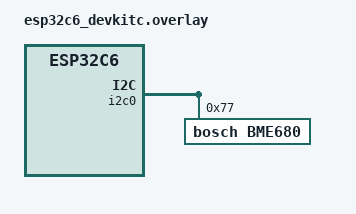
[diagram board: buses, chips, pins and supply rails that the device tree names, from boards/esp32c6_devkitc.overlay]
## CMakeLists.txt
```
# SPDX-License-Identifier: Apache-2.0

cmake_minimum_required(VERSION 3.20.0)

find_package(Zephyr REQUIRED HINTS $ENV{ZEPHYR_BASE})
project(iot-environmental-monitor)

FILE(GLOB app_sources src/*.c)
target_sources(app PRIVATE ${app_sources})
```

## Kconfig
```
# SPDX-License-Identifier: Apache-2.0

menu "IoT Environmental Monitor"

config SENSOR_READ_INTERVAL
	int "Sensor read interval (seconds)"
	default 60
	help
	  Interval in seconds between sensor readings.

config WIFI_SSID
	string "Wi-Fi SSID"
	help
	  SSID of the Wi-Fi network to connect to.

config WIFI_PSK
	string "Wi-Fi PSK"
	help
	  Pre-shared key (password) for the Wi-Fi network.

config MQTT_BROKER_ADDR
	string "MQTT broker address"
	help
	  IP address of the MQTT broker.

config MQTT_BROKER_PORT
	int "MQTT broker port"
	default 1883
	help
	  Port number of the MQTT broker.
	  Standard MQTT port is 1883, for TLS use 8883.

config MQTT_CLIENTID
	string "MQTT client ID"
	default "esp32c6-monitor"
	help
	  Client ID to use when connecting to the MQTT broker.
	  Must be unique for each client connecting to the same broker.

config MQTT_MAX_RETRY_COUNT
	int "MQTT max retry count"
	default 5
	help
	  Maximum number of retries for MQTT connection attempts.
	  Set to 0 for infinite retries.

endmenu

source "Kconfig.zephyr"
```

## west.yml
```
# Copyright (c) 2021 Nordic Semiconductor ASA
# SPDX-License-Identifier: Apache-2.0

manifest:
  remotes:
    - name: zephyrproject-rtos
      url-base: https://github.com/zephyrproject-rtos
  projects:
    - name: zephyr
      remote: zephyrproject-rtos
      revision: v4.3.0
      import:
        name-allowlist:
          - mbedtls
          - hal_espressif
  self:
    path: app
  version: "0.13"
```

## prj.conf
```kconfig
# SPDX-License-Identifier: Apache-2.0

CONFIG_LOG=y
CONFIG_NET_LOG=y

CONFIG_INIT_STACKS=y

CONFIG_I2C_RTIO=y
CONFIG_SENSOR=y
CONFIG_SENSOR_ASYNC_API=y

CONFIG_ZBUS=y
CONFIG_ZBUS_CHANNEL_NAME=y
CONFIG_ZBUS_OBSERVER_NAME=y
CONFIG_ZBUS_MSG_SUBSCRIBER=y
CONFIG_ZBUS_MSG_SUBSCRIBER_NET_BUF_POOL_SIZE=8

CONFIG_WIFI=y
CONFIG_NET_CONNECTION_MANAGER=y
CONFIG_NET_DHCPV4=y
CONFIG_NET_IPV4=y
CONFIG_NET_L2_ETHERNET=y
CONFIG_NET_L2_WIFI_MGMT=y
CONFIG_NET_DEFAULT_IF_WIFI=y
CONFIG_NET_MGMT=y
CONFIG_NET_MGMT_EVENT=y
CONFIG_NET_MGMT_EVENT_INFO=y
CONFIG_NET_MGMT_EVENT_QUEUE_SIZE=10
CONFIG_NET_MGMT_EVENT_STACK_SIZE=4096
CONFIG_NET_PKT_RX_COUNT=16
CONFIG_NET_PKT_TX_COUNT=16
CONFIG_NET_TCP=y
CONFIG_NET_UDP=y
CONFIG_NETWORKING=y

CONFIG_MQTT_LIB=y

CONFIG_WIFI_SSID="Test Network"
CONFIG_WIFI_PSK="1234567890"
CONFIG_MQTT_BROKER_ADDR="10.42.20.125"
```

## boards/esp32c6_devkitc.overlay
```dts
/*
 * SPDX-License-Identifier: Apache-2.0
 */

&i2c0 {
    status = "okay";
    bme680@77 {
        compatible = "bosch,bme680";
        reg = <0x77>;
    };
};
```

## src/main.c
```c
#include <zephyr/kernel.h>
#include <zephyr/logging/log.h>

LOG_MODULE_REGISTER(iot_environmental_monitor, CONFIG_APP_LOG_LEVEL);

int main(void)
{
    while (1) {
        k_sleep(K_SECONDS(1));
    }

    return 0;
}
```

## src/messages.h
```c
#ifndef IEM_MESSAGES_H
#define IEM_MESSAGES_H

#include <stdbool.h>
#include <zephyr/types.h>

struct net_state {
    bool is_connected;
};

struct sensor_reading {
    int64_t timestamp_ms;   /* Timestamp in milliseconds */
    int32_t temperature_mc; /* Temperature in milli-Celsius */
    uint32_t humidity;      /* Humidity in percent * 1000 (e.g., 55.5% = 55500) */
    uint32_t pressure;      /* Pressure in Pa */
};

#endif /* IEM_MESSAGES_H */
```

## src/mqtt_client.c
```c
#include <zephyr/logging/log.h>
LOG_MODULE_REGISTER(iem_mqtt_client, LOG_LEVEL_DBG);

#include <string.h>
#include <zephyr/kernel.h>
#include <zephyr/net/mqtt.h>
#include <zephyr/net/socket.h>
#include <zephyr/zbus/zbus.h>

#include "messages.h"

#define MQTT_THREAD_DELAY_MS    5000
#define MQTT_THREAD_PRIORITY    8
#define MQTT_THREAD_STACK_SIZE  4096

#define MQTT_CONNECT_FAILURE_BACKOFF_SEC 30
#define MQTT_PAYLOAD_SIZE       256
#define MQTT_POLL_TIMEOUT_MS    (CONFIG_MQTT_KEEPALIVE * MSEC_PER_SEC / 2)

#define TOPIC_TEMPERATURE       "sensors/temperature"
#define TOPIC_HUMIDITY          "sensors/humidity"
#define TOPIC_PRESSURE          "sensors/pressure"

static uint8_t rx_buffer[MQTT_PAYLOAD_SIZE];
static uint8_t tx_buffer[MQTT_PAYLOAD_SIZE];

ZBUS_MSG_SUBSCRIBER_DEFINE(mqtt_sub);

ZBUS_CHAN_DECLARE(net_state_chan);
ZBUS_CHAN_DECLARE(sensor_data_chan);

static struct mqtt_client client;
static struct sockaddr_storage broker;

static bool mqtt_connected;
static bool net_connected;

static void mqtt_event_handler(struct mqtt_client *const c, const struct mqtt_evt *evt)
{
    switch (evt->type) {
    case MQTT_EVT_CONNACK:
        if (evt->result != 0) {
            LOG_ERR("CONNACK error %d.", evt->result);
            break;
        }
        mqtt_connected = true;
        LOG_INF("MQTT connected to broker.");
        break;
    case MQTT_EVT_DISCONNECT:
        mqtt_connected = false;
        LOG_INF("MQTT disconnected.");
        break;
    case MQTT_EVT_PUBACK:
        LOG_DBG("PUBACK id=%u.", evt->param.puback.message_id);
        break;
    case MQTT_EVT_PINGRESP:
        LOG_DBG("PINGRESP received.");
        break;
    default:
        break;
    }
}

static int mqtt_connect_to_broker(void)
{
    struct zsock_pollfd fds;
    int rc = 0;
    int attempt = 0;

    struct sockaddr_in *broker4 = (struct sockaddr_in *)&broker;
    broker4->sin_family = AF_INET;
    broker4->sin_port   = htons(CONFIG_MQTT_BROKER_PORT);

    if (zsock_inet_pton(AF_INET, CONFIG_MQTT_BROKER_ADDR, &broker4->sin_addr) != 1) {
        LOG_ERR("Invalid broker IP address: %s.", CONFIG_MQTT_BROKER_ADDR);
        return -EINVAL;
    }

    while (CONFIG_MQTT_MAX_RETRY_COUNT == 0 || attempt < CONFIG_MQTT_MAX_RETRY_COUNT) {
        if (attempt > 0) {
            k_sleep(K_SECONDS(5));
        }

        mqtt_client_init(&client);
        client.broker           = &broker;
        client.evt_cb           = mqtt_event_handler;
        client.client_id.utf8   = (uint8_t *)CONFIG_MQTT_CLIENTID;
        client.client_id.size   = sizeof(CONFIG_MQTT_CLIENTID) - 1;
        client.protocol_version = MQTT_VERSION_3_1_1;
        client.rx_buf           = rx_buffer;
        client.rx_buf_size      = sizeof(rx_buffer);
        client.tx_buf           = tx_buffer;
        client.tx_buf_size      = sizeof(tx_buffer);

        rc = mqtt_connect(&client);
        if (rc != 0) {
            LOG_WRN("mqtt_connect failed: %s, attempt %d.", strerror(rc), attempt + 1);
            attempt++;
            continue;
        }

        fds.fd = client.transport.tcp.sock;
        fds.events = ZSOCK_POLLIN;

        rc = zsock_poll(&fds, 1, 5 * MSEC_PER_SEC);
        if (rc <= 0) {
            LOG_WRN("CONNACK timeout, attempt %d.", attempt + 1);
            mqtt_disconnect(&client, NULL);
            mqtt_connected = false;
            attempt++;
            continue;
        }

        rc = mqtt_input(&client);
        if (rc != 0) {
            LOG_WRN("mqtt_input failed (%d), attempt %d.",
                rc, attempt + 1);
            mqtt_disconnect(&client, NULL);
            mqtt_connected = false;
            attempt++;
            continue;
        }

        if (mqtt_connected) {
            LOG_INF("MQTT ready (attempt %d).", attempt + 1);
            return 0;
        }

        LOG_WRN("CONNACK rejected by broker, attempt %d,", attempt + 1);
        mqtt_disconnect(&client, NULL);
        attempt++;

    }

    LOG_ERR("MQTT broker unreachable after %d attempt(s)", attempt);
    return -ETIMEDOUT;
}

static void service_mqtt_connection(void)
{
    struct zsock_pollfd fds = {
        .fd     = client.transport.tcp.sock,
        .events = ZSOCK_POLLIN,
    };
    int rc = 0;

    rc = zsock_poll(&fds, 1, 0);
    if (rc < 0) {
        LOG_ERR("poll error %s, dropping MQTT connection.", strerror(errno));
        mqtt_connected = false;
        return;
    }

    if (rc > 0 && (fds.revents & ZSOCK_POLLIN)) {
        rc = mqtt_input(&client);
        if (rc != 0) {
            LOG_ERR("mqtt_input error %s, dropping connection.", strerror(rc));
            mqtt_connected = false;
            return;
        }
    }

    rc = mqtt_live(&client);
    if (rc != 0 && rc != -EAGAIN) {
        LOG_ERR("mqtt_live error %s, dropping connection.", strerror(rc));
        mqtt_connected = false;
    }
}

static int publish_to_topic(const char *topic, const char *payload)
{
    struct mqtt_publish_param param = {
        .message = {
            .topic = {
                .topic = {
                    .utf8 = (const uint8_t *)topic,
                    .size = strlen(topic),
                },
                .qos = MQTT_QOS_0_AT_MOST_ONCE,
            },
            .payload = {
                .data = (uint8_t *)payload,
                .len  = strlen(payload),
            },
        },
        .message_id  = 0,
        .dup_flag    = 0,
        .retain_flag = 0,
    };

    int rc = mqtt_publish(&client, &param);
    if (rc != 0) {
        LOG_ERR("mqtt_publish(%s) failed: %s.", topic, strerror(rc));
    } else {
        LOG_DBG("%s: %s.", topic, payload);
    }

    return rc;
}

static void publish_sensor_data(const struct sensor_reading *reading)
{
    char buf[32];

    int32_t temp_int = reading->temperature_mc / 1000;
    int32_t temp_frac = reading->temperature_mc % 1000;
    if (temp_frac < 0) {
        temp_frac = -temp_frac;
    }
    if (reading->temperature_mc < 0 && temp_int == 0) {
        snprintk(buf, sizeof(buf), "-0.%03d", temp_frac);
    } else {
        snprintk(buf, sizeof(buf), "%d.%03d", temp_int, temp_frac);
    }
    publish_to_topic(TOPIC_TEMPERATURE, buf);

    snprintk(buf, sizeof(buf), "%u.%03u",
             reading->humidity / 1000,
             reading->humidity % 1000);
    publish_to_topic(TOPIC_HUMIDITY, buf);

    snprintk(buf, sizeof(buf), "%u.%03u",
             reading->pressure / 1000,
             reading->pressure % 1000);
    publish_to_topic(TOPIC_PRESSURE, buf);
}

static void mqtt_thread(void *arg1, void *arg2, void *arg3)
{
    const struct zbus_channel *chan;
    union {
        struct net_state net;
        struct sensor_reading sensor;
    } msg;
    int rc;

    LOG_INF("MQTT client thread started.");

    while (1) {
        rc = zbus_sub_wait_msg(&mqtt_sub, &chan, &msg, K_MSEC(MQTT_POLL_TIMEOUT_MS));
        if (rc == 0) {
            if (chan == &net_state_chan) {
                net_connected = msg.net.is_connected;
                if (!net_connected && mqtt_connected) {
                    mqtt_disconnect(&client, NULL);
                    mqtt_connected = false;
                }
            } else if (chan == &sensor_data_chan) {
                if (mqtt_connected) {
                    publish_sensor_data(&msg.sensor);
                } else {
                    LOG_WRN("MQTT not ready, dropping sensor reading.");
                }
            }
        } else if (rc == -EAGAIN || rc == -ENOMSG) { 
            if (mqtt_connected) {
                service_mqtt_connection();
            }
        } else {
            LOG_ERR("zbus_sub_wait_msg error: %s.", strerror(rc));
        }

        if (net_connected && !mqtt_connected) {
            LOG_INF("Connecting to MQTT broker %s:%d...", CONFIG_MQTT_BROKER_ADDR, CONFIG_MQTT_BROKER_PORT);
            rc = mqtt_connect_to_broker();
            if (rc < 0) {
                LOG_ERR("MQTT connect failed (%s), backing off for %d seconds.",
                        strerror(rc), MQTT_CONNECT_FAILURE_BACKOFF_SEC);
                k_sleep(K_SECONDS(MQTT_CONNECT_FAILURE_BACKOFF_SEC));
            }
        }
    }
}

K_THREAD_DEFINE(mqtt_thread_id, MQTT_THREAD_STACK_SIZE, mqtt_thread,
                NULL, NULL, NULL, MQTT_THREAD_PRIORITY, 0, MQTT_THREAD_DELAY_MS);
```

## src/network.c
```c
#include <zephyr/logging/log.h>
LOG_MODULE_REGISTER(iem_network, CONFIG_LOG_DEFAULT_LEVEL);

#include <zephyr/kernel.h>
#include <zephyr/net/wifi_mgmt.h>
#include <zephyr/zbus/zbus.h>

#include "messages.h"

#define NETWORK_THREAD_DELAY_MS     5000
#define NETWORK_THREAD_PRIORITY     7
#define NETWORK_THREAD_STACK_SIZE   2048

#define WIFI_EVENT_MASK                                                        \
        (NET_EVENT_WIFI_CONNECT_RESULT | NET_EVENT_WIFI_DISCONNECT_RESULT)
#define NET_EVENT_MASK                                                         \
        (NET_EVENT_IPV4_ADDR_ADD)


ZBUS_CHAN_DEFINE(net_state_chan,
                 struct net_state,
                 NULL,
                 NULL,
                 ZBUS_OBSERVERS(mqtt_sub),
                 ZBUS_MSG_INIT(.is_connected = false));

static struct net_if *iface;
static struct wifi_connect_req_params sta_config;

static int net_state_publish(bool connected)
{
    struct net_state state = {
        .is_connected = connected
    };

    int rc = zbus_chan_pub(&net_state_chan, &state, K_NO_WAIT);
    switch (rc) {
    case -ENOMSG:
        LOG_ERR("Invalid message received for network state.");
        break;
    case -EBUSY:
        LOG_ERR("Network state channel is busy, message not published.");
        break;
    default:
        break;
    }

    return rc;
}

static int wifi_connect(void)
{
    sta_config.ssid = (const uint8_t *)CONFIG_WIFI_SSID;
    sta_config.ssid_length = sizeof(CONFIG_WIFI_SSID) - 1;
    sta_config.psk = (const uint8_t *)CONFIG_WIFI_PSK;
    sta_config.psk_length = sizeof(CONFIG_WIFI_PSK) - 1;
    sta_config.security = WIFI_SECURITY_TYPE_PSK;
    sta_config.channel = WIFI_CHANNEL_ANY;
    sta_config.band = WIFI_FREQ_BAND_2_4_GHZ;

    LOG_INF("Connecting to WiFi SSID: %s.", CONFIG_WIFI_SSID);

    int ret = net_mgmt(NET_REQUEST_WIFI_CONNECT, iface, &sta_config,
                       sizeof(struct wifi_connect_req_params));
    if (ret) {
        LOG_ERR("Failed to connect to WiFi (%s), error: %d.", CONFIG_WIFI_SSID, ret);
    }

    return ret;
}

static void net_event_handler(struct net_mgmt_event_callback *cb, uint64_t mgmt_event,
                              struct net_if *iface)
{
    switch (mgmt_event) {
    case NET_EVENT_WIFI_CONNECT_RESULT:
        const struct wifi_status *status = (const struct wifi_status *)cb->info;
        switch (status->conn_status) {
            case WIFI_STATUS_CONN_SUCCESS:
            LOG_INF("WiFi connection established.");
            break;
            case WIFI_STATUS_CONN_FAIL:
            LOG_ERR("WiFi connection failed.");
            break;
            case WIFI_STATUS_CONN_TIMEOUT:
            LOG_ERR("WiFi connection timed out.");
            break;
            case WIFI_STATUS_CONN_WRONG_PASSWORD:
            LOG_ERR("Incorrect WiFi password.");
            break;
            default:
            break;
        }
        break;
    case NET_EVENT_WIFI_DISCONNECT_RESULT:
        LOG_INF("WiFi disconnected.");
        net_state_publish(false);
        wifi_connect();
        break;
    case NET_EVENT_IPV4_ADDR_ADD:
        LOG_INF("IPv4 address added.");
        net_state_publish(true);
        break;
    default:
        LOG_INF("Unhandled network event: 0x%llx.", mgmt_event);
        break;
    }
}

static void network_thread(void *arg1, void *arg2, void *arg3)
{
    LOG_INF("Network thread started, waiting for network events...");

    iface = net_if_get_wifi_sta();
    if (!iface) {
        LOG_ERR("Network interface not initialized.");
    }

    static struct net_mgmt_event_callback wifi_cb;
    net_mgmt_init_event_callback(&wifi_cb, net_event_handler, WIFI_EVENT_MASK);
    net_mgmt_add_event_callback(&wifi_cb);
    static struct net_mgmt_event_callback net_cb;
    net_mgmt_init_event_callback(&net_cb, net_event_handler, NET_EVENT_MASK);
    net_mgmt_add_event_callback(&net_cb);

    wifi_connect();

    while (1) {
        k_sleep(K_SECONDS(1));
    }
}

    K_THREAD_DEFINE(network_thread_id, NETWORK_THREAD_STACK_SIZE, network_thread,
                    NULL, NULL, NULL, NETWORK_THREAD_PRIORITY, 0, NETWORK_THREAD_DELAY_MS);
```

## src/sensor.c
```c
#include <zephyr/device.h>
#include <zephyr/devicetree.h>
#include <zephyr/drivers/sensor.h>
#include <zephyr/drivers/sensor_data_types.h>
#include <zephyr/kernel.h>
#include <zephyr/rtio/rtio.h>
#include <zephyr/sys/timeutil.h>
#include <zephyr/zbus/zbus.h>

#include <zephyr/logging/log.h>
LOG_MODULE_REGISTER(iem_sensor, CONFIG_LOG_DEFAULT_LEVEL);

#include "messages.h"

#define BUFFER_SIZE                         128
#define DEVICE_READINESS_CHECK_INTERVAL_SEC 5

#define SENSOR_THREAD_PRIORITY      7
#define SENSOR_THREAD_STACK_SIZE    2048

static const struct device *const dev = DEVICE_DT_GET_ANY(bosch_bme680);

SENSOR_DT_READ_IODEV(iodev, DT_COMPAT_GET_ANY_STATUS_OKAY(bosch_bme680),
                     {SENSOR_CHAN_AMBIENT_TEMP, 0},
                     {SENSOR_CHAN_HUMIDITY, 0},
                     {SENSOR_CHAN_PRESS, 0});

RTIO_DEFINE(rtio_ctx, 1, 1);

ZBUS_CHAN_DEFINE(sensor_data_chan,
                 struct sensor_reading,
                 NULL,
                 NULL,
                 ZBUS_OBSERVERS(mqtt_sub),
                 ZBUS_MSG_INIT(.timestamp_ms = 0, .temperature_mc = 0,
                               .humidity = 0, .pressure = 0));

static const struct device *check_bme680_device(const struct device *dev)
{
    if (dev == NULL) {
        LOG_ERR("No device found.");
        return NULL;
    }

    if (!device_is_ready(dev)) {
        LOG_ERR("Device \"%s\" is not ready.", dev->name);
        return NULL;
    }

    LOG_INF("Found device \"%s\", getting sensor data.", dev->name);
    return dev;
}

static void sensor_thread(void *arg1, void *arg2, void *arg3)
{
    while (check_bme680_device(dev) == NULL) {
        LOG_ERR("Retrying in %ds...", DEVICE_READINESS_CHECK_INTERVAL_SEC);
        k_sleep(K_SECONDS(DEVICE_READINESS_CHECK_INTERVAL_SEC));
    }

    LOG_INF("Reading sensor data every %d seconds...", CONFIG_SENSOR_READ_INTERVAL);

    uint8_t buf[BUFFER_SIZE];

    while (1) {
        int rc = sensor_read(&iodev, &rtio_ctx, buf, BUFFER_SIZE);
        if (rc != 0) {
            LOG_ERR("%s: sensor_read() failed: %s.", dev->name, strerror(rc));
            k_sleep(K_SECONDS(60));
            continue;
        }

        struct sensor_reading reading = {0};
        reading.timestamp_ms = k_uptime_get();
        const struct sensor_decoder_api *decoder;

        rc = sensor_get_decoder(dev, &decoder);
        if (rc != 0) {
            LOG_ERR("%s: Failed to get decoder: %s.", dev->name, strerror(rc));
            continue;
        }

        uint32_t temp_fit = 0;
        uint32_t press_fit = 0;
        uint32_t hum_fit = 0;
        struct sensor_q31_data temp_data = {0};
        struct sensor_q31_data press_data = {0};
        struct sensor_q31_data hum_data = {0};

        decoder->decode(buf, (struct sensor_chan_spec) {SENSOR_CHAN_AMBIENT_TEMP, 0},
                        &temp_fit, 1, &temp_data);
        decoder->decode(buf, (struct sensor_chan_spec) {SENSOR_CHAN_PRESS, 0},
                        &press_fit, 1, &press_data);
        decoder->decode(buf, (struct sensor_chan_spec) {SENSOR_CHAN_HUMIDITY, 0},
                        &hum_fit, 1, &hum_data);

        reading.temperature_mc = (int32_t)((int64_t)temp_data.readings[0].temperature * 1000 >> (31 - temp_data.shift));
        reading.pressure = (uint32_t)((int64_t)press_data.readings[0].pressure * 1000 >> (31 - press_data.shift));
        reading.humidity = (uint32_t)((int64_t)hum_data.readings[0].humidity * 1000 >> (31 - hum_data.shift));

        LOG_INF("Sensor reading: Temperature: %d m°C, Pressure: %d mPa, Humidity: %d m%%RH",
                reading.temperature_mc, reading.pressure, reading.humidity);

        int ret = zbus_chan_pub(&sensor_data_chan, &reading, K_NO_WAIT);
        switch (ret) {
        case 0:
            LOG_DBG("Sensor data published to channel.");
            break;
        case -ENOMSG:
            LOG_ERR("Invalid message received for sensor data");
            break;
        case -EBUSY:
            LOG_ERR("Sensor data channel is busy, message not published");
            break;
        default:
            break;
        }

        k_sleep(K_SECONDS(CONFIG_SENSOR_READ_INTERVAL));
    }
}

K_THREAD_DEFINE(sensor_thread_id, SENSOR_THREAD_STACK_SIZE, sensor_thread, NULL, NULL,
                NULL, SENSOR_THREAD_PRIORITY, 0, 0);
```
